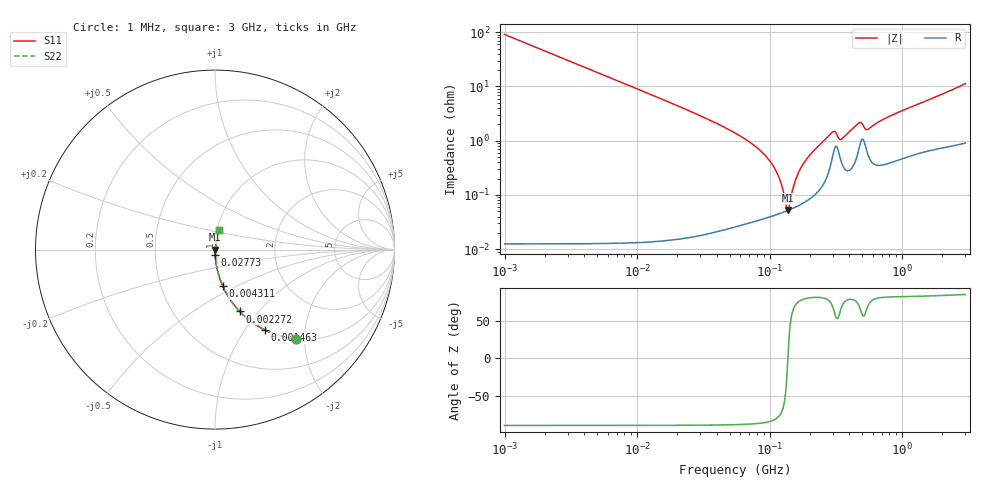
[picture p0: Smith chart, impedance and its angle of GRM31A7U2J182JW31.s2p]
!Murata Part Number: GRM31A7U2J182JW31
!These Parameters are Measured in Series Mode Connection
!Data Generated on Mar 30, 2021
!  o--ll--o
!Port1  Port2
!  o------o
!Operation Temp=25[degC], DC Bias Voltage=0[V]
!Freq. Start=1000[kHz] Stop=3[GHz] 401[Steps]
# Hz S RI R 50
!Freq.(Hz) S11(Real) S11(Imag) S21(Real) S21(Imag) S12(Real) S12(Imag) S22(Real) S22(Imag)
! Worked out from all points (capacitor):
!   401 points, 1 MHz to 3 GHz, reference 50 ohm
!   read as one part in series: C = 1.75 nF near 1.041 MHz
!   lowest |Z| = 52.1 mohm at 137.5 MHz (marker M1)
!   series resonance near 137.3 MHz, so ESL is about 770 pH
!   S11 on the Smith chart (normalised r, x): 1 MHz: 1.00, -1.82; 1.463 MHz: 1.00, -1.24; 2.272 MHz: 1.00, -0.80; 4.311 MHz: 1.00, -0.42; 27.73 MHz: 1.00, -0.06; 3 GHz: 1.02, +0.22
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1000000  0.4524 -0.4977  0.5476 0.4977  0.5476 0.4977  0.4524 -0.4977
1462727  0.2786 -0.4482  0.7214 0.4482  0.7214 0.4482  0.2786 -0.4482
2271982  0.138 -0.3447  0.862 0.3447  0.862 0.3447  0.138 -0.3447
3823119  0.0535 -0.2248  0.9465 0.2248  0.9465 0.2248  0.0535 -0.2248
4310966  0.0426 -0.2016  0.9574 0.2016  0.9574 0.2016  0.0426 -0.2016
1.461624e7  0.0039 -0.0612  0.9961 0.0612  0.9961 0.0612  0.0039 -0.0612
2.773354e7  0.00116 -0.0313  0.9988 0.0313  0.9988 0.0313  0.00116 -0.0313
5.477226e7  0.00045 -0.0139  0.9996 0.0139  0.9996 0.0139  0.00045 -0.0139
8.011685e7  0.000389 -0.00746  0.9996 0.00746  0.9996 0.00746  0.000389 -0.00746
1.018679e8  0.000415 -0.00401  0.9996 0.00401  0.9996 0.00401  0.000415 -0.00401
1.171891e8  0.000452 -0.00211  0.9995 0.00211  0.9995 0.00211  0.000452 -0.00211
1.321429e8  0.0005 -0.000506  0.9995 0.000506  0.9995 0.000506  0.0005 -0.000506
1.375402e8  0.00052 2.72e-05  0.9995 -2.72e-05  0.9995 -2.72e-05  0.00052 2.72e-05
1.403209e8  0.00053 0.000295  0.9995 -0.000295  0.9995 -0.000295  0.00053 0.000295
1.646891e8  0.00064 0.00247  0.9994 -0.00247  0.9994 -0.00247  0.00064 0.00247
2.094008e8  0.00095 0.00603  0.9991 -0.00603  0.9991 -0.00603  0.00095 0.00603
3.002264e8  0.00562 0.0134  0.9944 -0.0134  0.9944 -0.0134  0.00562 0.0134
3.453811e8  0.00435 0.00961  0.9957 -0.00961  0.9957 -0.00961  0.00435 0.00961
4.66327e8  0.00662 0.0196  0.9934 -0.0196  0.9934 -0.0196  0.00662 0.0196
5.473095e8  0.00606 0.0148  0.9939 -0.0148  0.9939 -0.0148  0.00606 0.0148
8.005644e8  0.00462 0.0277  0.9954 -0.0277  0.9954 -0.0277  0.00462 0.0277
3e9  0.021 0.1088  0.979 -0.1088  0.979 -0.1088  0.021 0.1088
